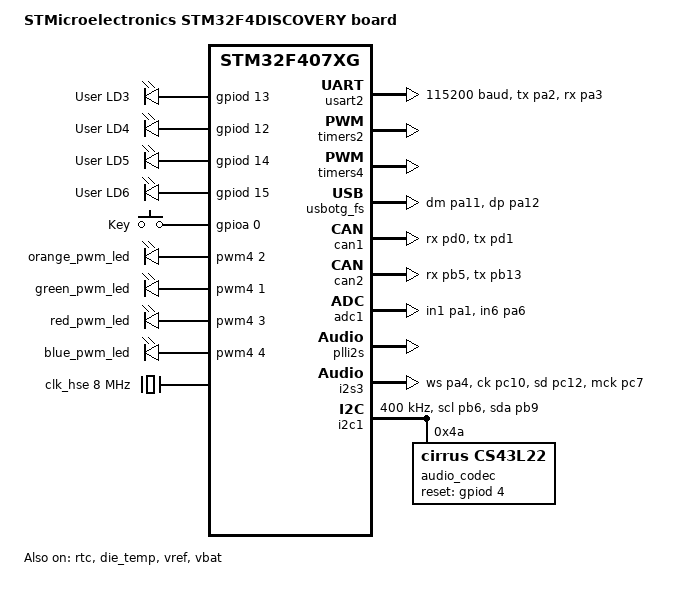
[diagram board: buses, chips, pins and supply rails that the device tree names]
/*
 * Copyright (c) 2017 Linaro Limited
 *
 * SPDX-License-Identifier: Apache-2.0
 */

/dts-v1/;
#include <st/f4/stm32f407Xg.dtsi>
#include <st/f4/stm32f407v(e-g)tx-pinctrl.dtsi>
#include <zephyr/dt-bindings/input/input-event-codes.h>

/ {
	model = "STMicroelectronics STM32F4DISCOVERY board";
	compatible = "st,stm32f4discovery";

	chosen {
		zephyr,console = &usart2;
		zephyr,shell-uart = &usart2;
		zephyr,sram = &sram0;
		zephyr,flash = &flash0;
		zephyr,ccm = &ccm0;
		zephyr,canbus = &can2;
	};

	leds {
		compatible = "gpio-leds";

		orange_led_3: led_3 {
			gpios = <&gpiod 13 GPIO_ACTIVE_HIGH>;
			label = "User LD3";
		};

		green_led_4: led_4 {
			gpios = <&gpiod 12 GPIO_ACTIVE_HIGH>;
			label = "User LD4";
		};

		red_led_5: led_5 {
			gpios = <&gpiod 14 GPIO_ACTIVE_HIGH>;
			label = "User LD5";
		};

		blue_led_6: led_6 {
			gpios = <&gpiod 15 GPIO_ACTIVE_HIGH>;
			label = "User LD6";
		};
	};

	gpio_keys {
		compatible = "gpio-keys";

		user_button: button {
			label = "Key";
			gpios = <&gpioa 0 GPIO_ACTIVE_HIGH>;
			zephyr,code = <INPUT_KEY_0>;
		};
	};

	pwmleds: pwmleds {
		compatible = "pwm-leds";

		orange_pwm_led: orange_pwm_led {
			pwms = <&pwm4 2 PWM_USEC(100) PWM_POLARITY_NORMAL>;
		};

		green_pwm_led: green_pwm_led {
			pwms = <&pwm4 1 PWM_USEC(100) PWM_POLARITY_NORMAL>;
		};

		red_pwm_led: red_pwm_led {
			pwms = <&pwm4 3 PWM_USEC(100) PWM_POLARITY_NORMAL>;
		};

		blue_pwm_led: blue_pwm_led {
			pwms = <&pwm4 4 PWM_USEC(100) PWM_POLARITY_NORMAL>;
		};
	};

	aliases {
		led0 = &green_led_4;
		led1 = &orange_led_3;
		led2 = &red_led_5;
		led3 = &blue_led_6;
		sw0 = &user_button;
		die-temp0 = &die_temp;
		volt-sensor0 = &vref;
		volt-sensor1 = &vbat;
	};
};

&clk_lsi {
	status = "okay";
};

&clk_hse {
	clock-frequency = <DT_FREQ_M(8)>;
	status = "okay";
};

&pll {
	div-m = <8>;
	mul-n = <336>;
	div-p = <2>;
	div-q = <7>;
	clocks = <&clk_hse>;
	status = "okay";
};

&rcc {
	clocks = <&pll>;
	clock-frequency = <DT_FREQ_M(168)>;
	ahb-prescaler = <1>;
	apb1-prescaler = <4>;
	apb2-prescaler = <2>;
};

&usart2 {
	pinctrl-0 = <&usart2_tx_pa2 &usart2_rx_pa3>;
	pinctrl-names = "default";
	current-speed = <115200>;
	status = "okay";
};

&timers2 {
	status = "okay";

	pwm2: pwm {
		status = "okay";
		pinctrl-0 = <&tim2_ch1_pa0>;
		pinctrl-names = "default";
	};
};

&timers4 {
	status = "okay";

	pwm4: pwm {
		status = "okay";
		pinctrl-0 = <&tim4_ch1_pd12 &tim4_ch2_pd13 &tim4_ch3_pd14 &tim4_ch4_pd15>;
		pinctrl-names = "default";
	};
};

&rtc {
	clocks = <&rcc STM32_CLOCK(APB1, 28)>,
		 <&rcc STM32_SRC_LSI RTC_SEL(2)>;
	status = "okay";

	backup_regs {
		status = "okay";
	};
};

zephyr_udc0: &usbotg_fs {
	pinctrl-0 = <&usb_otg_fs_dm_pa11 &usb_otg_fs_dp_pa12>;
	pinctrl-names = "default";
	status = "okay";
};

&can1 {
	pinctrl-0 = <&can1_rx_pd0 &can1_tx_pd1>;
	pinctrl-names = "default";
	status = "okay";
};

&can2 {
	pinctrl-0 = <&can2_rx_pb5 &can2_tx_pb13>;
	pinctrl-names = "default";
	status = "okay";
};

&adc1 {
	pinctrl-0 = <&adc1_in1_pa1 &adc1_in6_pa6>;
	pinctrl-names = "default";
	st,adc-prescaler = <2>;
	status = "okay";
};

&die_temp {
	status = "okay";
};

&vref {
	status = "okay";
};

&vbat {
	status = "okay";
};

&dma1 {
	status = "okay";
};

&plli2s {
	/* Minimize audio clock error (with i2s mck-enabled) for all of:
	 * - 22.05kHz / 16b, 24b or 32b
	 * - 44.1kHz  / 16b, 24b or 32b
	 * - 88.2kHz  / 16b or 24b
	 * Note: because the PLLI2S is dependent on the main PLL, the latter
	 *       should not be changed without checking impact on PLLI2S
	 */
	mul-n = <271>;
	div-r = <2>;
	status = "okay";
};

&i2s3 {
	mck-enabled;
	pinctrl-0 = <&i2s3_ws_pa4 &i2s3_ck_pc10 &i2s3_sd_pc12 &i2s3_mck_pc7>;
	pinctrl-names = "default";
	clocks = <&rcc STM32_CLOCK(APB1, 15)>,
		 <&rcc STM32_SRC_PLLI2S_R I2S_SEL(0)>;
	status = "okay";
};

&i2c1 {
	clock-frequency = <I2C_BITRATE_FAST>;
	pinctrl-0 = <&i2c1_scl_pb6 &i2c1_sda_pb9>;
	pinctrl-names = "default";
	status = "okay";

	audio_codec: cs43l22@4a {
		compatible = "cirrus,cs43l22";
		reg = <0x4a>;
		reset-gpios = <&gpiod 4 0>;
	};
};
